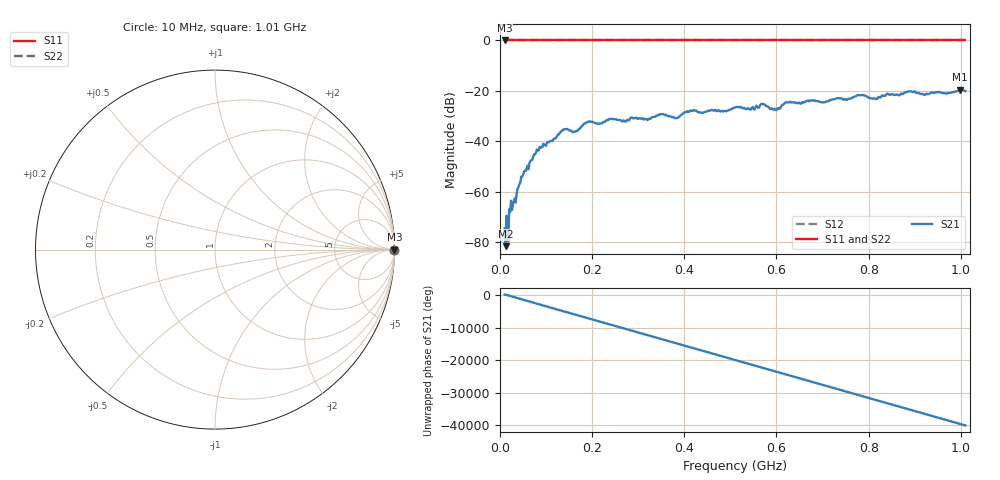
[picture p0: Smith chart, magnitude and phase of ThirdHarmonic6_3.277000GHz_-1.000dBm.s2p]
! 8/17/2025 10:09:22 AM
! C:\ANRITSUVNA\TEMP\TEMP.S2P
! CHANNEL.1
! TR.MEASUREMENT
! RAW.DATA
! RF.CORRECTION.OFF
! AVERAGING.OFF
! IF.BANDWIDTH: 5KHZ
! SWEEPTYPE:  FREQ.SWEEP(Linear)
! Reference Plane Port Info
! PORT:  PORT1  PORT2
! DISTANCE:  0  m  0  m
! TIME:  0  s  0  s
! PHASE.OFFSET:  0  deg.  0  deg.
! LOSS:  0  dB  0  dB
! REF.LOSS:  0  dB  0  dB
! REF.FREQ:  0  Hz  0  Hz
! Power Info
! POWER:  -20  dBm  -20  dBm
! EFF.POWER:  -20  dBm  -20  dBm
! SOURCE.ATTEN:  0  dB  0  dB
! TEST.ATTEN:  0  dB  0  dB
# GHZ S RI R 50.0
! FREQ.GHZ  S11RE  S11IM  S21RE  S21IM  S12RE  S12IM  S22RE  S22IM
!; PortSelection: Port_12
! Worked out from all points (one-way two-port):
!   501 points, 10 MHz to 1.01 GHz, reference 50 ohm
!   highest |S21| = -19.50 dB at 998 MHz (marker M1); lowest = -81.7 dB at 12 MHz (marker M2)
!   lowest |S11| = 0.0 dB at 10 MHz (marker M3)
!   |S11| at or under -10 dB: nowhere
!   |S22| runs from 0.0 to 0.0 dB; largest |S21 - S12| = 1.1
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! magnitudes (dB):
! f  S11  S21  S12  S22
! 10 MHz  0.0  -74.6  0.0  0.0
! 12 MHz  0.0  -81.7  0.0  0.0
! 14 MHz  0.0  -69.6  0.0  0.0
! 24 MHz  0.0  -63.6  0.0  0.0
! 30 MHz  0.0  -64.0  0.0  0.0
! 50 MHz  0.0  -53.5  0.0  0.0
! 78 MHz  0.0  -44.5  0.0  0.0
! 136 MHz  0.0  -35.7  0.0  0.0
! 162 MHz  0.0  -36.2  0.0  0.0
! 178 MHz  0.0  -34.0  0.0  0.0
! 344 MHz  0.0  -29.7  0.0  0.0
! 384 MHz  0.0  -30.8  0.0  0.0
! 416 MHz  0.0  -28.0  0.0  0.0
! 510 MHz  0.0  -26.6  0.0  0.0
! 570 MHz  0.0  -25.2  0.0  0.0
! 598 MHz  0.0  -27.5  0.0  0.0
! 622 MHz  0.0  -24.5  0.0  0.0
! 678 MHz  0.0  -23.8  0.0  0.0
! 814 MHz  0.0  -23.1  0.0  0.0
! 844 MHz  0.0  -21.5  0.0  0.0
! 998 MHz  0.0  -19.5  0.0  0.0
! 1.01 GHz  0.0  -20.1  0.0  0.0
